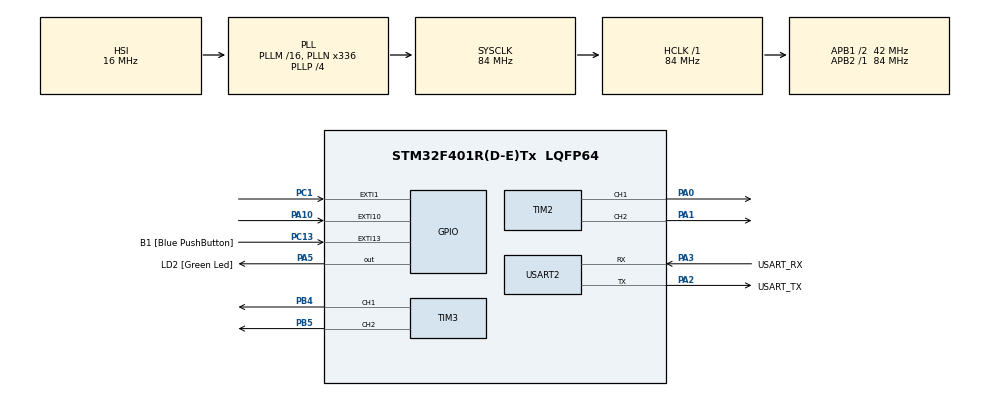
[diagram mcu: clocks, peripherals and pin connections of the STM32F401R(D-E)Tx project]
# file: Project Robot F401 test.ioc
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Mcu.Family=STM32F4
Mcu.Name=STM32F401R(D-E)Tx
Mcu.Package=LQFP64
NVIC.EXTI15_10_IRQn=true\:0\:0\:false\:false\:true\:true
NVIC.EXTI1_IRQn=true\:0\:0\:false\:false\:true\:true
NVIC.PriorityGroup=NVIC_PRIORITYGROUP_0
PA0-WKUP.Signal=S_TIM2_CH1_ETR
PA1.Signal=S_TIM2_CH2
PA10.Signal=GPXTI10
PA13.GPIO_Label=TMS
PA13.Mode=Serial_Wire
PA13.Signal=SYS_JTMS-SWDIO
PA14.GPIO_Label=TCK
PA14.Mode=Serial_Wire
PA14.Signal=SYS_JTCK-SWCLK
PA2.GPIO_Label=USART_TX
PA2.GPIO_Mode=GPIO_MODE_AF_PP
PA2.GPIO_PuPd=GPIO_NOPULL
PA2.GPIO_Speed=GPIO_SPEED_FREQ_LOW
PA2.Mode=Asynchronous
PA2.Signal=USART2_TX
PA3.GPIO_Label=USART_RX
PA3.GPIO_Mode=GPIO_MODE_AF_PP
PA3.GPIO_PuPd=GPIO_NOPULL
PA3.GPIO_Speed=GPIO_SPEED_FREQ_LOW
PA3.Mode=Asynchronous
PA3.Signal=USART2_RX
PA5.GPIO_Label=LD2 [Green Led]
PA5.GPIO_Mode=GPIO_MODE_OUTPUT_PP
PA5.GPIO_PuPd=GPIO_NOPULL
PA5.GPIO_Speed=GPIO_SPEED_FREQ_LOW
PA5.Signal=GPIO_Output
PB3.GPIO_Label=SWO
PB3.Signal=SYS_JTDO-SWO
PB4.Signal=S_TIM3_CH1
PB5.Signal=S_TIM3_CH2
PC1.Signal=GPXTI1
PC13-ANTI_TAMP.GPIO_Label=B1 [Blue PushButton]
PC13-ANTI_TAMP.GPIO_ModeDefaultEXTI=GPIO_MODE_IT_FALLING
PC13-ANTI_TAMP.GPIO_PuPd=GPIO_NOPULL
PC13-ANTI_TAMP.Signal=GPXTI13
PC14-OSC32_IN.Mode=LSE-External-Oscillator
PC14-OSC32_IN.Signal=RCC_OSC32_IN
PC15-OSC32_OUT.Mode=LSE-External-Oscillator
PC15-OSC32_OUT.Signal=RCC_OSC32_OUT
PH0\ -\ OSC_IN.Mode=HSE-External-Clock-Source
PH0\ -\ OSC_IN.Signal=RCC_OSC_IN
PH1\ -\ OSC_OUT.Mode=HSE-External-Clock-Source
PH1\ -\ OSC_OUT.Signal=RCC_OSC_OUT
ProjectManager.HeapSize=0x200
ProjectManager.StackSize=0x400
ProjectManager.TargetToolchain=SW4STM32
RCC.48MHZClocksFreq_Value=48000000
RCC.AHBFreq_Value=84000000
RCC.APB1CLKDivider=RCC_HCLK_DIV2
RCC.APB1Freq_Value=42000000
RCC.APB1TimFreq_Value=84000000
RCC.APB2Freq_Value=84000000
RCC.APB2TimFreq_Value=84000000
RCC.CortexFreq_Value=84000000
RCC.HCLKFreq_Value=84000000
RCC.HSE_VALUE=8000000
RCC.HSI_VALUE=16000000
RCC.PLLN=336
RCC.PLLP=RCC_PLLP_DIV4
RCC.PLLQ=7
RCC.SYSCLKFreq_VALUE=84000000
RCC.SYSCLKSource=RCC_SYSCLKSOURCE_PLLCLK
RCC.VCOOutputFreq_Value=336000000
SH.S_TIM2_CH1_ETR.0=TIM2_CH1,PWM Generation1 CH1
SH.S_TIM2_CH2.0=TIM2_CH2,PWM Generation2 CH2
SH.S_TIM3_CH1.0=TIM3_CH1,PWM Generation1 CH1
SH.S_TIM3_CH2.0=TIM3_CH2,PWM Generation2 CH2
TIM2.Channel-PWM\ Generation1\ CH1=TIM_CHANNEL_1
TIM2.Channel-PWM\ Generation2\ CH2=TIM_CHANNEL_2
TIM3.Channel-PWM\ Generation1\ CH1=TIM_CHANNEL_1
TIM3.Channel-PWM\ Generation2\ CH2=TIM_CHANNEL_2
USART2.VirtualMode=VM_ASYNC
board=NUCLEO-F401RE

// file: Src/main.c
/**
  ******************************************************************************
  * @file           : main.c
  * @brief          : Main program body
  ******************************************************************************
  ** This notice applies to any and all portions of this file
  * that are not between comment pairs USER CODE BEGIN and
  * USER CODE END. Other portions of this file, whether
  * inserted by the user or by software development tools
  * are owned by their respective copyright owners.
  *
  * COPYRIGHT(c) 2018 STMicroelectronics
  *
  * Redistribution and use in source and binary forms, with or without modification,
  * are permitted provided that the following conditions are met:
  *   1. Redistributions of source code must retain the above copyright notice,
  *      this list of conditions and the following disclaimer.
  *   2. Redistributions in binary form must reproduce the above copyright notice,
  *      this list of conditions and the following disclaimer in the documentation
  *      and/or other materials provided with the distribution.
  *   3. Neither the name of STMicroelectronics nor the names of its contributors
  *      may be used to endorse or promote products derived from this software
  *      without specific prior written permission.
  *
  * THIS SOFTWARE IS PROVIDED BY THE COPYRIGHT HOLDERS AND CONTRIBUTORS "AS IS"
  * AND ANY EXPRESS OR IMPLIED WARRANTIES, INCLUDING, BUT NOT LIMITED TO, THE
  * IMPLIED WARRANTIES OF MERCHANTABILITY AND FITNESS FOR A PARTICULAR PURPOSE ARE
  * DISCLAIMED. IN NO EVENT SHALL THE COPYRIGHT HOLDER OR CONTRIBUTORS BE LIABLE
  * FOR ANY DIRECT, INDIRECT, INCIDENTAL, SPECIAL, EXEMPLARY, OR CONSEQUENTIAL
  * DAMAGES (INCLUDING, BUT NOT LIMITED TO, PROCUREMENT OF SUBSTITUTE GOODS OR
  * SERVICES; LOSS OF USE, DATA, OR PROFITS; OR BUSINESS INTERRUPTION) HOWEVER
  * CAUSED AND ON ANY THEORY OF LIABILITY, WHETHER IN CONTRACT, STRICT LIABILITY,
  * OR TORT (INCLUDING NEGLIGENCE OR OTHERWISE) ARISING IN ANY WAY OUT OF THE USE
  * OF THIS SOFTWARE, EVEN IF ADVISED OF THE POSSIBILITY OF SUCH DAMAGE.
  *
  ******************************************************************************
  */
#include "main.h"
#include "stm32f4xx_hal.h"

/* USER CODE BEGIN Includes */
#include  <errno.h>
#include  <stdio.h>
#include  <sys/stat.h>
#include  <sys/unistd.h>
#include "x_nucleo_ihmxx.h"
#include "l6206.h"
#include "x_nucleo_ihm04a1_stm32f4xx.h"
/* USER CODE END Includes */

TIM_HandleTypeDef htim2;
TIM_HandleTypeDef htim3;

UART_HandleTypeDef huart2;

/* USER CODE BEGIN PV */
/* Private variables ---------------------------------------------------------*/
#define MAX_STEPS (9)
/* USER CODE END PV */

void SystemClock_Config(void);
static void MX_GPIO_Init(void);
static void MX_USART2_UART_Init(void);
static void MX_TIM3_Init(void);
static void MX_TIM2_Init(void);
void HAL_TIM_MspPostInit(TIM_HandleTypeDef *htim);

/* USER CODE BEGIN PFP */
/* Private function prototypes -----------------------------------------------*/
void my_Error_Handler(uint16_t error);

static volatile uint16_t gLastError;
static volatile bool gButtonPressed = FALSE;
static volatile uint8_t gStep = 0;

deviceParams_t initDeviceParameters =
{
		 L6206_CONF_PARAM_PARALLE_BRIDGES,
		 {L6206_CONF_PARAM_FREQ_PWM1A, L6206_CONF_PARAM_FREQ_PWM2A, L6206_CONF_PARAM_FREQ_PWM1B, L6206_CONF_PARAM_FREQ_PWM2B},
		 {100,100,100,100},
		 {FORWARD,FORWARD,BACKWARD,FORWARD},
		 {INACTIVE,INACTIVE,INACTIVE,INACTIVE},
		 {FALSE,FALSE}
};
/* USER CODE END PFP */

/* USER CODE BEGIN 0 */
int _write(int file, char *data, int len)
{
    HAL_StatusTypeDef ret = HAL_ERROR;

    if ((file != STDOUT_FILENO) && (file != STDERR_FILENO))
    {
        errno = EBADF;
        return -1;
    }
    ret = HAL_UART_Transmit(&huart2, (uint8_t*)data, (uint16_t)len, 100);

    if (ret == HAL_OK)
    	return len;
    return -1;
}

static void MyFlagInterruptHandler(void);
void ButtonHandler(void);

void avance()
{
	/*********** Step 0  ************/
	/* Set speed of motor 0 to 100 % */
	BSP_MotorControl_SetMaxSpeed(0,30);
	BSP_MotorControl_SetMaxSpeed(1,30);
	/* start motor 0 to run forward*/
	BSP_MotorControl_Run(1, FORWARD);
	/* start motor 0 to run forward*/
	BSP_MotorControl_Run(0, FORWARD);
	HAL_Delay(500);
	BSP_MotorControl_SetMaxSpeed(0,50);
	BSP_MotorControl_SetMaxSpeed(1,50);
	HAL_Delay(500);
	BSP_MotorControl_SetMaxSpeed(0,70);
	BSP_MotorControl_SetMaxSpeed(1,70);
	HAL_Delay(1000);
	BSP_MotorControl_SetMaxSpeed(0,50);
	BSP_MotorControl_SetMaxSpeed(1,50);
	HAL_Delay(500);
	BSP_MotorControl_SetMaxSpeed(0,30);
	BSP_MotorControl_SetMaxSpeed(1,30);
	HAL_Delay(500);
	BSP_MotorControl_SetMaxSpeed(0,0);
	BSP_MotorControl_SetMaxSpeed(1,0);
	HAL_Delay(100);
	BSP_MotorControl_HardStop(0);
	BSP_MotorControl_HardStop(1);
}
void recul()
{
	/*********** Step 0  ************/
	/* Set speed of motor 0 to 100 % */
	BSP_MotorControl_SetMaxSpeed(0,30);
	BSP_MotorControl_SetMaxSpeed(1,30);
	/* start motor 0 to run forward*/
	BSP_MotorControl_Run(1, BACKWARD);
	/* start motor 0 to run forward*/
	BSP_MotorControl_Run(0, BACKWARD);
	HAL_Delay(500);
	BSP_MotorControl_SetMaxSpeed(0,50);
	BSP_MotorControl_SetMaxSpeed(1,50);
	HAL_Delay(500);
	BSP_MotorControl_SetMaxSpeed(0,70);
	BSP_MotorControl_SetMaxSpeed(1,70);
	HAL_Delay(1000);
	BSP_MotorControl_SetMaxSpeed(0,50);
	BSP_MotorControl_SetMaxSpeed(1,50);
	HAL_Delay(500);
	BSP_MotorControl_SetMaxSpeed(0,30);
	BSP_MotorControl_SetMaxSpeed(1,30);
	HAL_Delay(500);
	BSP_MotorControl_SetMaxSpeed(0,0);
	BSP_MotorControl_SetMaxSpeed(1,0);
	HAL_Delay(100);
	BSP_MotorControl_HardStop(0);
	BSP_MotorControl_HardStop(1);
}

void tourne()
{

		/*********** Step 0  ************/
		/* Set speed of motor 0 to 100 % */
		BSP_MotorControl_SetMaxSpeed(0,30);
		BSP_MotorControl_SetMaxSpeed(1,30);
		/* start motor 0 to run forward*/
		BSP_MotorControl_Run(1, FORWARD);
		/* start motor 0 to run forward*/
		BSP_MotorControl_Run(0, FORWARD);
		HAL_Delay(500);
		BSP_MotorControl_SetMaxSpeed(0,50);
		HAL_Delay(500);
		BSP_MotorControl_SetMaxSpeed(1,50);
		BSP_MotorControl_SetMaxSpeed(0,70);
		HAL_Delay(500);
		BSP_MotorControl_SetMaxSpeed(1,70);
		BSP_MotorControl_SetMaxSpeed(0,50);
		HAL_Delay(500);
		BSP_MotorControl_SetMaxSpeed(1,50);
		BSP_MotorControl_SetMaxSpeed(0,30);
		HAL_Delay(500);
		BSP_MotorControl_SetMaxSpeed(1,30);
		HAL_Delay(500);
		BSP_MotorControl_SetMaxSpeed(0,0);
		BSP_MotorControl_SetMaxSpeed(1,0);
		HAL_Delay(100);
		BSP_MotorControl_HardStop(0);
		BSP_MotorControl_HardStop(1);

}

/* USER CODE END 0 */

int main(void)
{
  /* USER CODE BEGIN 1 */
	uint32_t Step_size = 10;
	uint32_t dir = FORWARD;
  /* USER CODE END 1 */

  /* MCU Configuration----------------------------------------------------------*/

  /* Reset of all peripherals, Initializes the Flash interface and the Systick. */
  HAL_Init();

  /* Configure the system clock */
  SystemClock_Config();

  /* Initialize all configured peripherals */
  MX_GPIO_Init();
  MX_USART2_UART_Init();
  MX_TIM3_Init();
  MX_TIM2_Init();
  /* USER CODE BEGIN 2 */
  printf("Hello world !!\n");
  /* Configure KEY Button */
  BSP_PB_Init(BUTTON_KEY, BUTTON_MODE_EXTI);

  HAL_NVIC_SetPriorityGrouping(NVIC_PRIORITYGROUP_4);
  /* Set Systick Interrupt to the highest priority to have HAL_Delay working*/
  /* under the user button handler */
  HAL_NVIC_SetPriority(SysTick_IRQn, 0x0, 0x0);

  //----- Init of the Motor control library
  /* Set the L6208 library to use 1 device */
  BSP_MotorControl_SetNbDevices(BSP_MOTOR_CONTROL_BOARD_ID_L6206, 2);
  /* When BSP_MotorControl_Init is called with NULL pointer,                  */
  /* the L6206 parameters are set with the predefined values from file        */
  /* l6206_target_config.h, otherwise the parameters are set using the        */
  /* initDeviceParameters structure values.                                   */
  BSP_MotorControl_Init(BSP_MOTOR_CONTROL_BOARD_ID_L6206, &initDeviceParameters);

  /* Select the configuration with paralleling of brigde input IN1A with IN2A,
  and with paralleling of brigde input IN1B with IN2B with the use of one
  bidirectionnal motor */
  BSP_MotorControl_SetDualFullBridgeConfig(PARALLELING_NONE___1_BIDIR_MOTOR_BRIDGE_A__1_BIDIR_MOTOR_BRIDGE_B);

  /* Attach the function MyFlagInterruptHandler (defined below) to the flag interrupt */
  BSP_MotorControl_AttachFlagInterrupt(MyFlagInterruptHandler);

  /* Attach the function Error_Handler (defined below) to the error Handler*/
  BSP_MotorControl_AttachErrorHandler(my_Error_Handler);

  /* Set PWM Frequency of bridge A inputs to 10000 Hz */
  BSP_MotorControl_SetBridgeInputPwmFreq(0,10000);

  /* Set PWM Frequency of bridge B inputs to 10000 Hz */
  BSP_MotorControl_SetBridgeInputPwmFreq(1,10000);
  /* USER CODE END 2 */

  /* Infinite loop */
  /* USER CODE BEGIN WHILE */
  while (1)
  {
	  /* Each time the user button is pressed, the step is increased by 1 */

	      if (gButtonPressed)
	      {
	        gButtonPressed = FALSE;
	        gStep++;
	        if (gStep * Step_size > 100)
	        {
	          gStep = 0;

	        }
	        if (dir == FORWARD)
	        	dir = BACKWARD;
		    else
		    	dir = FORWARD;
	        printf("Setting motor %s at %lu ratio\n", (dir == FORWARD ? "Forward" : "Backward"), gStep*Step_size);
	        //avance();
	        tourne();

	        //recul();
	        BSP_MotorControl_CmdHardHiZ(0);
	        BSP_MotorControl_CmdHardHiZ(1);
			printf("stop\n");

	  }
  /* USER CODE END WHILE */

  }

}

void SystemClock_Config(void)
{

  RCC_OscInitTypeDef RCC_OscInitStruct;
  RCC_ClkInitTypeDef RCC_ClkInitStruct;

    /**Configure the main internal regulator output voltage
    */
  __HAL_RCC_PWR_CLK_ENABLE();

  __HAL_PWR_VOLTAGESCALING_CONFIG(PWR_REGULATOR_VOLTAGE_SCALE2);

    /**Initializes the CPU, AHB and APB busses clocks
    */
  RCC_OscInitStruct.OscillatorType = RCC_OSCILLATORTYPE_HSI;
  RCC_OscInitStruct.HSIState = RCC_HSI_ON;
  RCC_OscInitStruct.HSICalibrationValue = 16;
  RCC_OscInitStruct.PLL.PLLState = RCC_PLL_ON;
  RCC_OscInitStruct.PLL.PLLSource = RCC_PLLSOURCE_HSI;
  RCC_OscInitStruct.PLL.PLLM = 16;
  RCC_OscInitStruct.PLL.PLLN = 336;
  RCC_OscInitStruct.PLL.PLLP = RCC_PLLP_DIV4;
  RCC_OscInitStruct.PLL.PLLQ = 7;
  if (HAL_RCC_OscConfig(&RCC_OscInitStruct) != HAL_OK)
  {
    _Error_Handler(__FILE__, __LINE__);
  }

    /**Initializes the CPU, AHB and APB busses clocks
    */
  RCC_ClkInitStruct.ClockType = RCC_CLOCKTYPE_HCLK|RCC_CLOCKTYPE_SYSCLK
                              |RCC_CLOCKTYPE_PCLK1|RCC_CLOCKTYPE_PCLK2;
  RCC_ClkInitStruct.SYSCLKSource = RCC_SYSCLKSOURCE_PLLCLK;
  RCC_ClkInitStruct.AHBCLKDivider = RCC_SYSCLK_DIV1;
  RCC_ClkInitStruct.APB1CLKDivider = RCC_HCLK_DIV2;
  RCC_ClkInitStruct.APB2CLKDivider = RCC_HCLK_DIV1;

  if (HAL_RCC_ClockConfig(&RCC_ClkInitStruct, FLASH_LATENCY_2) != HAL_OK)
  {
    _Error_Handler(__FILE__, __LINE__);
  }

    /**Configure the Systick interrupt time
    */
  HAL_SYSTICK_Config(HAL_RCC_GetHCLKFreq()/1000);

    /**Configure the Systick
    */
  HAL_SYSTICK_CLKSourceConfig(SYSTICK_CLKSOURCE_HCLK);

  /* SysTick_IRQn interrupt configuration */
  HAL_NVIC_SetPriority(SysTick_IRQn, 0, 0);
}

/* TIM2 init function */
static void MX_TIM2_Init(void)
{

  TIM_MasterConfigTypeDef sMasterConfig;
  TIM_OC_InitTypeDef sConfigOC;

  htim2.Instance = TIM2;
  htim2.Init.Prescaler = 0;
  htim2.Init.CounterMode = TIM_COUNTERMODE_UP;
  htim2.Init.Period = 0;
  htim2.Init.ClockDivision = TIM_CLOCKDIVISION_DIV1;
  if (HAL_TIM_PWM_Init(&htim2) != HAL_OK)
  {
    _Error_Handler(__FILE__, __LINE__);
  }

  sMasterConfig.MasterOutputTrigger = TIM_TRGO_RESET;
  sMasterConfig.MasterSlaveMode = TIM_MASTERSLAVEMODE_DISABLE;
  if (HAL_TIMEx_MasterConfigSynchronization(&htim2, &sMasterConfig) != HAL_OK)
  {
    _Error_Handler(__FILE__, __LINE__);
  }

  sConfigOC.OCMode = TIM_OCMODE_PWM1;
  sConfigOC.Pulse = 0;
  sConfigOC.OCPolarity = TIM_OCPOLARITY_HIGH;
  sConfigOC.OCFastMode = TIM_OCFAST_DISABLE;
  if (HAL_TIM_PWM_ConfigChannel(&htim2, &sConfigOC, TIM_CHANNEL_1) != HAL_OK)
  {
    _Error_Handler(__FILE__, __LINE__);
  }

  if (HAL_TIM_PWM_ConfigChannel(&htim2, &sConfigOC, TIM_CHANNEL_2) != HAL_OK)
  {
    _Error_Handler(__FILE__, __LINE__);
  }

  HAL_TIM_MspPostInit(&htim2);

}

/* TIM3 init function */
static void MX_TIM3_Init(void)
{

  TIM_MasterConfigTypeDef sMasterConfig;
  TIM_OC_InitTypeDef sConfigOC;

  htim3.Instance = TIM3;
  htim3.Init.Prescaler = 0;
  htim3.Init.CounterMode = TIM_COUNTERMODE_UP;
  htim3.Init.Period = 0;
  htim3.Init.ClockDivision = TIM_CLOCKDIVISION_DIV1;
  if (HAL_TIM_PWM_Init(&htim3) != HAL_OK)
  {
    _Error_Handler(__FILE__, __LINE__);
  }

  sMasterConfig.MasterOutputTrigger = TIM_TRGO_RESET;
  sMasterConfig.MasterSlaveMode = TIM_MASTERSLAVEMODE_DISABLE;
  if (HAL_TIMEx_MasterConfigSynchronization(&htim3, &sMasterConfig) != HAL_OK)
  {
    _Error_Handler(__FILE__, __LINE__);
  }

  sConfigOC.OCMode = TIM_OCMODE_PWM1;
  sConfigOC.Pulse = 0;
  sConfigOC.OCPolarity = TIM_OCPOLARITY_HIGH;
  sConfigOC.OCFastMode = TIM_OCFAST_DISABLE;
  if (HAL_TIM_PWM_ConfigChannel(&htim3, &sConfigOC, TIM_CHANNEL_1) != HAL_OK)
  {
    _Error_Handler(__FILE__, __LINE__);
  }

  if (HAL_TIM_PWM_ConfigChannel(&htim3, &sConfigOC, TIM_CHANNEL_2) != HAL_OK)
  {
    _Error_Handler(__FILE__, __LINE__);
  }

  HAL_TIM_MspPostInit(&htim3);

}

/* USART2 init function */
static void MX_USART2_UART_Init(void)
{

  huart2.Instance = USART2;
  huart2.Init.BaudRate = 115200;
  huart2.Init.WordLength = UART_WORDLENGTH_8B;
  huart2.Init.StopBits = UART_STOPBITS_1;
  huart2.Init.Parity = UART_PARITY_NONE;
  huart2.Init.Mode = UART_MODE_TX_RX;
  huart2.Init.HwFlowCtl = UART_HWCONTROL_NONE;
  huart2.Init.OverSampling = UART_OVERSAMPLING_16;
  if (HAL_UART_Init(&huart2) != HAL_OK)
  {
    _Error_Handler(__FILE__, __LINE__);
  }

}

/** Configure pins as
        * Analog
        * Input
        * Output
        * EVENT_OUT
        * EXTI
*/
static void MX_GPIO_Init(void)
{

  GPIO_InitTypeDef GPIO_InitStruct;

  /* GPIO Ports Clock Enable */
  __HAL_RCC_GPIOC_CLK_ENABLE();
  __HAL_RCC_GPIOH_CLK_ENABLE();
  __HAL_RCC_GPIOA_CLK_ENABLE();
  __HAL_RCC_GPIOB_CLK_ENABLE();

  /*Configure GPIO pin Output Level */
  HAL_GPIO_WritePin(LD2_GPIO_Port, LD2_Pin, GPIO_PIN_RESET);

  /*Configure GPIO pin : B1_Pin */
  GPIO_InitStruct.Pin = B1_Pin;
  GPIO_InitStruct.Mode = GPIO_MODE_IT_FALLING;
  GPIO_InitStruct.Pull = GPIO_NOPULL;
  HAL_GPIO_Init(B1_GPIO_Port, &GPIO_InitStruct);

  /*Configure GPIO pin : PC1 */
  GPIO_InitStruct.Pin = GPIO_PIN_1;
  GPIO_InitStruct.Mode = GPIO_MODE_IT_RISING;
  GPIO_InitStruct.Pull = GPIO_NOPULL;
  HAL_GPIO_Init(GPIOC, &GPIO_InitStruct);

  /*Configure GPIO pin : LD2_Pin */
  GPIO_InitStruct.Pin = LD2_Pin;
  GPIO_InitStruct.Mode = GPIO_MODE_OUTPUT_PP;
  GPIO_InitStruct.Pull = GPIO_NOPULL;
  GPIO_InitStruct.Speed = GPIO_SPEED_FREQ_LOW;
  HAL_GPIO_Init(LD2_GPIO_Port, &GPIO_InitStruct);

  /*Configure GPIO pin : PA10 */
  GPIO_InitStruct.Pin = GPIO_PIN_10;
  GPIO_InitStruct.Mode = GPIO_MODE_IT_RISING;
  GPIO_InitStruct.Pull = GPIO_NOPULL;
  HAL_GPIO_Init(GPIOA, &GPIO_InitStruct);

  /* EXTI interrupt init*/
  HAL_NVIC_SetPriority(EXTI1_IRQn, 0xf, 0);
  HAL_NVIC_EnableIRQ(EXTI1_IRQn);

  //HAL_NVIC_SetPriority(EXTI15_10_IRQn, 0xf, 0);
  //HAL_NVIC_EnableIRQ(EXTI15_10_IRQn);

}

/* USER CODE BEGIN 4 */
/**
  * @brief  This function is the User handler for the flag interrupt
  * @param  None
  * @retval None
  */
void MyFlagInterruptHandler(void)
{
  /* Code to be customised */
  /************************/
  /* Get the state of bridge A */
  uint16_t bridgeState  = BSP_MotorControl_CmdGetStatus(0);

  if (bridgeState == 0)
  {
    if (BSP_MotorControl_GetDeviceState(0) != INACTIVE)
    {
      /* Bridge A was disabling due to overcurrent or over temperature */
      /* When  motor was running */
    	my_Error_Handler(0XBAD0);
    }
  }
 }

/**
  * @brief  This function is executed in case of error occurrence.
  * @param  error number of the error
  * @retval None
  */
void my_Error_Handler(uint16_t error)
{
  /* Backup error number */
  gLastError = error;
  printf("Error !!! %x\n", error);
  /* Infinite loop */
  while(1)
  {
  }
}
/**
  * @brief  This function is executed when the Nucleo User button is pressed
  * @param  error number of the error
  * @retval None
  */
void ButtonHandler(void)
{
  gButtonPressed = TRUE;

  /* Let 300 ms before clearing the IT for key debouncing */
  HAL_Delay(300);
  __HAL_GPIO_EXTI_CLEAR_IT(KEY_BUTTON_PIN);
  HAL_NVIC_ClearPendingIRQ(KEY_BUTTON_EXTI_IRQn);
}
/* USER CODE END 4 */

void _Error_Handler(char *file, int line)
{
  while(1)
  {
  }
}

/************************ (C) COPYRIGHT STMicroelectronics *****END OF FILE****/
